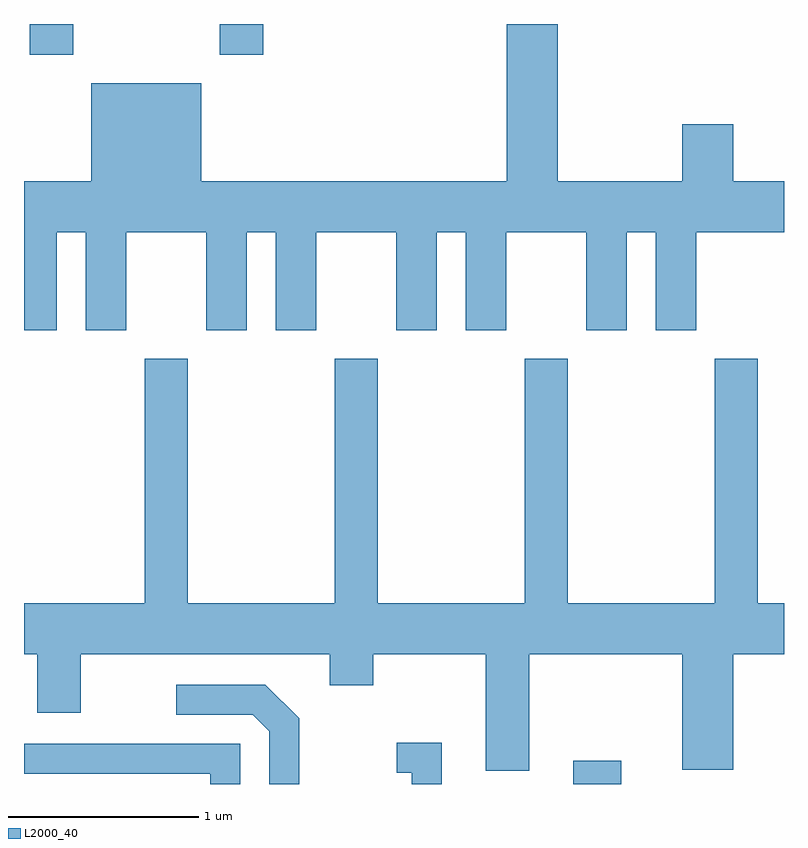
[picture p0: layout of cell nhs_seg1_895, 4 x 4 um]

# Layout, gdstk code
import gdstk
lib = gdstk.Library(unit=1e-6, precision=1e-09)
def R(c, l, rs):  # rectangles x0, y0, x1, y1
    for r in rs: c.add(gdstk.rectangle(r[:2], r[2:], *l))
def P(c, l, *ps):  # polygons
    for p in ps: c.add(gdstk.Polygon(p, *l))
L2000_40 = (2000, 40)

nhs_seg1_895 = lib.new_cell('nhs_seg1_895')
R(nhs_seg1_895, L2000_40, [(214.501,967.712,214.754,967.834), (211.641,971.551,211.869,971.712), (212.641,971.551,212.869,971.712)])
P(nhs_seg1_895, L2000_40, [(211.784,970.616),(211.936,970.616),(211.936,970.101),(212.149,970.101),(212.149,970.616),(212.571,970.616),(212.571,970.101),(212.784,970.101),(212.784,970.616),(212.936,970.616),(212.936,970.101),(213.149,970.101),(213.149,970.616),(213.571,970.616),(213.571,970.101),(213.784,970.101),(213.784,970.616),(213.936,970.616),(213.936,970.101),(214.149,970.101),(214.149,970.616),(214.571,970.616),(214.571,970.101),(214.784,970.101),(214.784,970.616),(214.936,970.616),(214.936,970.101),(215.149,970.101),(215.149,970.616),(215.611,970.616),(215.611,970.884),(215.344,970.884),(215.344,971.184),(215.076,971.184),(215.076,970.884),(214.419,970.884),(214.419,971.712),(214.151,971.712),(214.151,970.884),(212.544,970.884),(212.544,971.399),(211.966,971.399),(211.966,970.884),(211.611,970.884),(211.611,970.101),(211.784,970.101)],
  [(214.269,968.396),(215.076,968.396),(215.076,967.786),(215.344,967.786),(215.344,968.396),(215.611,968.396),(215.611,968.664),(215.474,968.664),(215.474,969.949),(215.246,969.949),(215.246,968.664),(214.474,968.664),(214.474,969.949),(214.246,969.949),(214.246,968.664),(213.474,968.664),(213.474,969.949),(213.246,969.949),(213.246,968.664),(212.474,968.664),(212.474,969.949),(212.246,969.949),(212.246,968.664),(211.611,968.664),(211.611,968.396),(211.681,968.396),(211.681,968.086),(211.909,968.086),(211.909,968.396),(213.221,968.396),(213.221,968.231),(213.449,968.231),(213.449,968.396),(214.041,968.396),(214.041,967.781),(214.269,967.781)],
  [(213.059,968.057),(212.882,968.234),(212.413,968.234),(212.413,968.076),(212.814,968.076),(212.901,967.989),(212.901,967.712),(213.059,967.712)],
  [(213.809,967.929),(213.573,967.929),(213.573,967.771),(213.651,967.771),(213.651,967.712),(213.809,967.712)],
  [(212.749,967.924),(211.611,967.924),(211.611,967.766),(212.591,967.766),(212.591,967.712),(212.749,967.712)])

lib.write_gds('nhs_seg1_895.gds')
